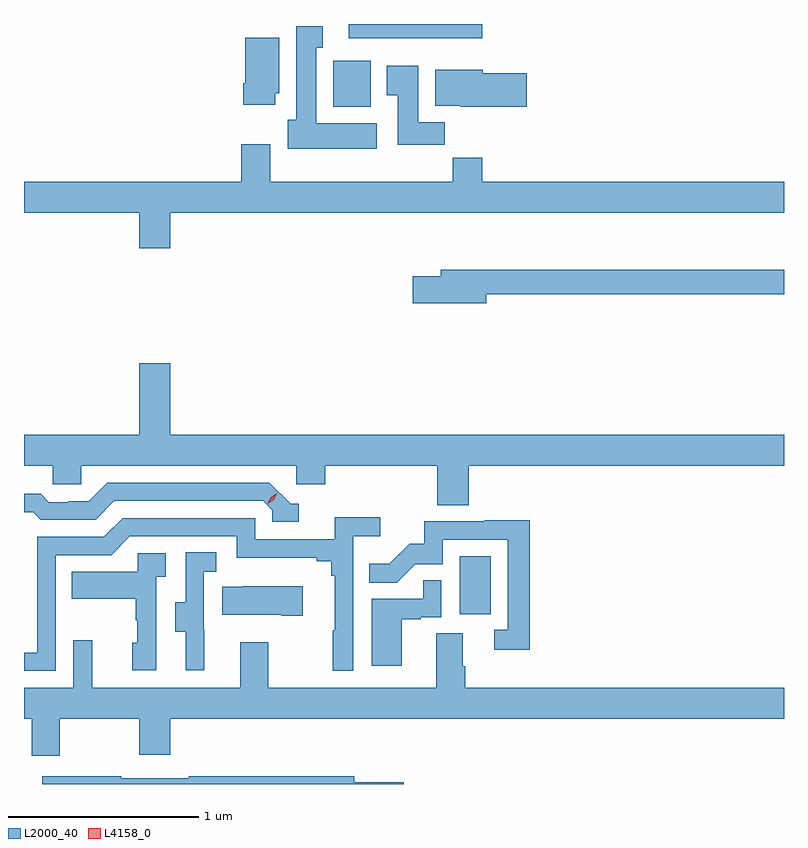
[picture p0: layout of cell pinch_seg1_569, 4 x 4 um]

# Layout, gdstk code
import gdstk
lib = gdstk.Library(unit=1e-6, precision=1e-09)
def R(c, l, rs):  # rectangles x0, y0, x1, y1
    for r in rs: c.add(gdstk.rectangle(r[:2], r[2:], *l))
def P(c, l, *ps):  # polygons
    for p in ps: c.add(gdstk.Polygon(p, *l))
L2000_40 = (2000, 40)
L4158_0 = (4158, 0)

pinch_seg1_569 = lib.new_cell('pinch_seg1_569')
R(pinch_seg1_569, L2000_40, [(1077.782,518.982,1077.946,519.289), (1077.116,521.654,1077.313,521.896), (1077.197,522.014,1077.902,522.089)])
P(pinch_seg1_569, L2000_40, [(1077.346,521.566),(1077.028,521.566),(1077.028,521.963),(1077.061,521.963),(1077.061,522.076),(1076.921,522.076),(1076.921,521.586),(1076.876,521.586),(1076.876,521.432),(1077.346,521.432)],
  [(1076.812,521.724),(1076.833,521.724),(1076.833,522.016),(1076.654,522.016),(1076.654,521.776),(1076.642,521.776),(1076.642,521.664),(1076.812,521.664)],
  [(1077.704,521.572),(1077.565,521.572),(1077.565,521.869),(1077.398,521.869),(1077.398,521.713),(1077.455,521.713),(1077.455,521.454),(1077.704,521.454)],
  [(1078.135,521.831),(1077.904,521.831),(1077.904,521.848),(1077.653,521.848),(1077.653,521.66),(1077.786,521.66),(1077.786,521.654),(1078.135,521.654)],
  [(1076.26,521.096),(1079.489,521.096),(1079.489,521.26),(1077.902,521.26),(1077.902,521.384),(1077.745,521.384),(1077.745,521.26),(1076.785,521.26),(1076.785,521.455),(1076.633,521.455),(1076.633,521.26),(1075.489,521.26),(1075.489,521.096),(1076.096,521.096),(1076.096,520.908),(1076.26,520.908)],
  [(1077.922,520.666),(1079.489,520.666),(1079.489,520.795),(1077.683,520.795),(1077.683,520.761),(1077.534,520.761),(1077.534,520.619),(1077.922,520.619)],
  [(1077.83,519.764),(1079.489,519.764),(1079.489,519.928),(1076.26,519.928),(1076.26,520.303),(1076.096,520.303),(1076.096,519.928),(1075.489,519.928),(1075.489,519.764),(1075.641,519.764),(1075.641,519.666),(1075.791,519.666),(1075.791,519.764),(1076.922,519.764),(1076.922,519.666),(1077.074,519.666),(1077.074,519.764),(1077.665,519.764),(1077.665,519.556),(1077.83,519.556)],
  [(1076.935,519.564),(1076.892,519.564),(1076.781,519.675),(1075.928,519.675),(1075.829,519.576),(1075.722,519.576),(1075.722,519.573),(1075.619,519.573),(1075.577,519.616),(1075.489,519.616),(1075.489,519.519),(1075.538,519.519),(1075.577,519.48),(1075.866,519.48),(1075.965,519.579),(1076.748,519.579),(1076.796,519.531),(1076.796,519.468),(1076.935,519.468)],
  [(1075.656,519.294),(1075.947,519.294),(1076.046,519.393),(1076.61,519.393),(1076.61,519.281),(1077.029,519.281),(1077.029,519.262),(1077.106,519.262),(1077.106,519.185),(1077.125,519.185),(1077.125,518.897),(1077.114,518.897),(1077.114,518.685),(1077.222,518.685),(1077.222,519.392),(1077.364,519.392),(1077.364,519.494),(1077.125,519.494),(1077.125,519.378),(1076.706,519.378),(1076.706,519.489),(1076.009,519.489),(1075.91,519.39),(1075.56,519.39),(1075.56,518.781),(1075.489,518.781),(1075.489,518.685),(1075.656,518.685)],
  [(1078.151,519.476),(1077.913,519.476),(1077.913,519.471),(1077.595,519.471),(1077.595,519.354),(1077.518,519.354),(1077.411,519.247),(1077.307,519.247),(1077.307,519.148),(1077.451,519.148),(1077.549,519.246),(1077.693,519.246),(1077.693,519.375),(1078.035,519.375),(1078.035,518.901),(1077.963,518.901),(1077.963,518.796),(1078.151,518.796)],
  [(1076.438,518.901),(1076.436,518.901),(1076.436,519.205),(1076.5,519.205),(1076.5,519.308),(1076.34,519.308),(1076.34,519.045),(1076.285,519.045),(1076.285,518.89),(1076.339,518.89),(1076.339,518.688),(1076.438,518.688)],
  [(1076.184,519.179),(1076.236,519.179),(1076.236,519.303),(1076.088,519.303),(1076.088,519.205),(1075.741,519.205),(1075.741,519.065),(1076.076,519.065),(1076.076,518.951),(1076.086,518.951),(1076.086,518.832),(1076.06,518.832),(1076.06,518.688),(1076.184,518.688)],
  [(1077.478,518.955),(1077.578,518.955),(1077.578,518.967),(1077.684,518.967),(1077.684,519.161),(1077.589,519.161),(1077.589,519.063),(1077.32,519.063),(1077.32,518.712),(1077.478,518.712)],
  [(1076.956,519.13),(1076.641,519.13),(1076.641,519.127),(1076.533,519.127),(1076.533,518.981),(1076.843,518.981),(1076.843,518.974),(1076.956,518.974)],
  [(1075.677,518.432),(1076.096,518.432),(1076.096,518.244),(1076.26,518.244),(1076.26,518.432),(1079.489,518.432),(1079.489,518.596),(1077.812,518.596),(1077.812,518.708),(1077.799,518.708),(1077.799,518.882),(1077.659,518.882),(1077.659,518.596),(1076.775,518.596),(1076.775,518.836),(1076.627,518.836),(1076.627,518.596),(1075.847,518.596),(1075.847,518.845),(1075.749,518.845),(1075.749,518.596),(1075.489,518.596),(1075.489,518.432),(1075.529,518.432),(1075.529,518.238),(1075.677,518.238)],
  [(1077.487,518.097),(1077.226,518.097),(1077.226,518.131),(1076.356,518.131),(1076.356,518.118),(1076,518.118),(1076,518.131),(1075.586,518.131),(1075.586,518.089),(1077.487,518.089)])
P(pinch_seg1_569, L4158_0, [(1076.772,519.565),(1076.772,519.565),(1076.788,519.598),(1076.818,519.618),(1076.818,519.618),(1076.818,519.618),(1076.803,519.585),(1076.772,519.565)])

lib.write_gds('pinch_seg1_569.gds')
